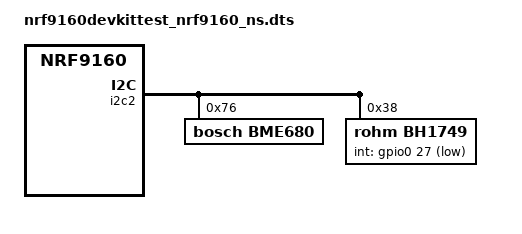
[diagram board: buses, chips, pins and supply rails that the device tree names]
/*
 * Copyright (c) 2018-2020 Nordic Semiconductor ASA
 *
 * SPDX-License-Identifier: Apache-2.0
 */

/dts-v1/;
#include <nordic/nrf9160ns_sica.dtsi>
#include "nrf9160devkittest_nrf9160_common.dtsi"

/ {
	chosen {
		zephyr,flash = &flash0;
		zephyr,sram = &sram0_ns;
		zephyr,code-partition = &slot0_ns_partition;
	};
};

/* Disable UART1, because it is used by default in TF-M */
&uart1 {
	status = "disabled";
};

&i2c2 {
	compatible = "nordic,nrf-twim";
	status = "okay";
	pinctrl-0 = <&i2c2_default>;
	pinctrl-1 = <&i2c2_sleep>;
	pinctrl-names = "default", "sleep";

	bme680: bme680@76 {
		compatible = "bosch,bme680";
		reg = <0x76>;
	};

	bh1749: bh1749@38 {
		compatible = "rohm,bh1749";
		reg = <0x38>;
		int-gpios = <&gpio0 27 (GPIO_PULL_UP | GPIO_ACTIVE_LOW)>;
	};
};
